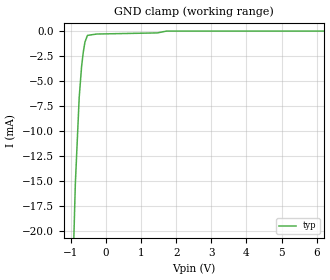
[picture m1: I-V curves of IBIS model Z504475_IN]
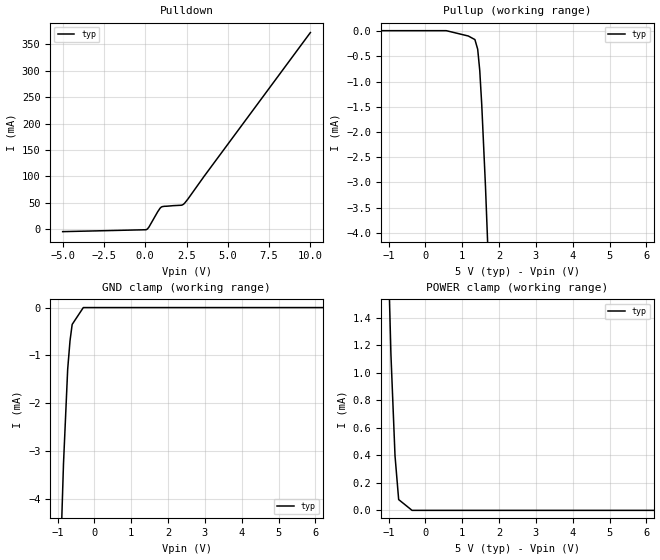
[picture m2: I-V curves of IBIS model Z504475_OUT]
| YOU ARE ONLY AUTHORIZED TO USE THIS SOFTWARE
| ACCORDING TO LICENSOR'S LICENSE RESTRICTIONS.
[IBIS Ver] 3.1
[File Name] sn54ls75j.ibs
[File Rev] 2.0
[Source] Measured and created by ICX Technology
[Date] Friday 7/14/00 9:08:15 AM
[Copyright]
| (C) COPYRIGHT 1993-2000
| MENTOR GRAPHICS CORPORATION
| ICX STANDARD LIBRARY, ICX PROJECT MODELING,
| ICX CUSTOM MODELING, ICX VENDOR MODEL
| ALL RIGHTS RESERVED.
| THE FOLLOWING ARE TRADEMARKS OR SERVICE MARKS OF
| MENTOR GRAPHICS CORPORATION:ICX (R), ICX STANDARD
| LIBRARY(R), ICX PROJECT MODELING(R), ICX CUSTOM
| MODELING(R), qualityIBIS(TM), MODELVIEWER(TM),
| AND MODELEDITOR(TM)
| ALL COPIES OF SOFTWARE, INCLUDING BUT NOT LIMITED TO
| ANY MODIFICATIONS, ENHANCEMENTS OR DERIVATIVE WORKS,
| MUST CONTAIN ALL MENTOR GRAPHICS CORPORATION'S
| NOTICES AND LEGENDS, INCLUDING THOSE EMBEDDED IN
| SOFTWARE AND THOSE AFFIXED TO SOFTWARE MEDIUM
| AND CONTAINER, AS RECEIVED FROM MENTOR GRAPHICS
| CORPORATION.
|  ZAP Model Builder 2.7
[Component] SN54LS75J
[Manufacturer] OnSemiconductor
[Package]
| variable   typ   min   max
R_pkg  .212ohms NA NA
L_pkg  4.758nH NA NA
C_pkg  1.944pF NA NA
[Pin] signal_name  model_name  R_pin  L_pin C_pin
1 _Q0 Z504475_OUT .224 7.258n 2.683p
2 D0 Z504475_IN .216 5.258n 2.19p
3 D1 Z504475_IN .208 3.758n 1.697p
4 CLK Z504475_IN .2 2.758n 1.204p
5 VCC POWER .2 2.758n 1.204p
6 D0 Z504475_IN .208 3.758n 1.697p
7 D1 Z504475_IN .216 5.258n 2.19p
8 _Q1 Z504475_OUT .224 7.258n 2.683p
9 Q1 Z504475_OUT .224 7.258n 2.683p
10 Q0 Z504475_OUT .216 5.258n 2.19p
11 _Q0 Z504475_OUT .208 3.758n 1.697p
12 GND GND .2 2.758n 1.204p
13 CLK Z504475_IN .2 2.758n 1.204p
14 _Q1 Z504475_OUT .208 3.758n 1.697p
15 Q1 Z504475_OUT .216 5.258n 2.19p
16 Q0 Z504475_OUT .224 7.258n 2.683p
| Models and submodels in the file (2): Z504475_IN (Input), Z504475_OUT (Output)
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| (C) COPYRIGHT 1993-2000
| MENTOR GRAPHICS CORPORATION
| ICX STANDARD LIBRARY, ICX PROJECT MODELING,
| ICX CUSTOM MODELING, ICX VENDOR MODEL
| ALL RIGHTS RESERVED.
| THE FOLLOWING ARE TRADEMARKS OR SERVICE MARKS OF
| MENTOR GRAPHICS CORPORATION:ICX (R), ICX STANDARD
| LIBRARY(R), ICX PROJECT MODELING(R), ICX CUSTOM
| MODELING(R), qualityIBIS(TM), MODELVIEWER(TM),
| AND MODELEDITOR(TM)
| ALL COPIES OF SOFTWARE, INCLUDING BUT NOT LIMITED TO
| ANY MODIFICATIONS, ENHANCEMENTS OR DERIVATIVE WORKS,
| MUST CONTAIN ALL MENTOR GRAPHICS CORPORATION'S
| NOTICES AND LEGENDS, INCLUDING THOSE EMBEDDED IN
| SOFTWARE AND THOSE AFFIXED TO SOFTWARE MEDIUM
| AND CONTAINER, AS RECEIVED FROM MENTOR GRAPHICS
| CORPORATION.
| Model Application Version 1.89 2/18/99.
[Model] Z504475_IN
Model_type Input
Vinl = 800.0mV
Vinh = 2.000V
C_comp 4.000pF NA NA
| variable typ   min   max
[Voltage Range] 5.000V NA NA
[GND Clamp Reference] 0.000V NA NA
[POWER Clamp Reference] 5.000V NA NA
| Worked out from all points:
|   GND clamp passes 1 mA (typ) near -0.59 V on its own axis
[GND Clamp]
-5V       -538.1mA   NA         NA
-872.3mV  -15.32mA   NA         NA
-761.6mV  -6.603mA   NA         NA
-693.4mV  -3.522mA   NA         NA
-644.6mV  -2.077mA   NA         NA
-598mV    -1.09mA    NA         NA
-527.3mV  -437.9uA   NA         NA
-263.7mV  -299.9uA   NA         NA
1.466V    -187uA     NA         NA
1.724V    -5.706uA   NA         NA
10V       -5.706uA   NA         NA
[POWER Clamp]
-5V       0A         NA         NA
10V       0A         NA         NA
| (C) COPYRIGHT 1993-2000
| MENTOR GRAPHICS CORPORATION
| ICX STANDARD LIBRARY, ICX PROJECT MODELING,
| ICX CUSTOM MODELING, ICX VENDOR MODEL
| ALL RIGHTS RESERVED.
| THE FOLLOWING ARE TRADEMARKS OR SERVICE MARKS OF
| MENTOR GRAPHICS CORPORATION:ICX (R), ICX STANDARD
| LIBRARY(R), ICX PROJECT MODELING(R), ICX CUSTOM
| MODELING(R), qualityIBIS(TM), MODELVIEWER(TM),
| AND MODELEDITOR(TM)
| ALL COPIES OF SOFTWARE, INCLUDING BUT NOT LIMITED TO
| ANY MODIFICATIONS, ENHANCEMENTS OR DERIVATIVE WORKS,
| MUST CONTAIN ALL MENTOR GRAPHICS CORPORATION'S
| NOTICES AND LEGENDS, INCLUDING THOSE EMBEDDED IN
| SOFTWARE AND THOSE AFFIXED TO SOFTWARE MEDIUM
| AND CONTAINER, AS RECEIVED FROM MENTOR GRAPHICS
| CORPORATION.
| Model Application Version 1.89 2/18/99.
[Model] Z504475_OUT
Model_type Output
Vref=5.000V
Rref=2.000kohms
Cref=15.00pF
Vmeas=1.300V
C_comp 8.000pF NA NA
| variable typ   min   max
[Voltage Range] 5.000V NA NA
[POWER Clamp Reference] 5.000V NA NA
[Pullup Reference] 5.000V NA NA
[Pulldown Reference] 0.000V NA NA
[GND Clamp Reference] 0.000V NA NA
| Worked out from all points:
|   slope of the pulldown table from 0 to 0.75 V, typ, clamps not added: 22.1 ohm
|   slope of the pullup table from 0 to 0.75 V, typ, clamps not added: 23 kohm
|   GND clamp passes 1 mA (typ) near -0.70 V on its own axis
|   POWER clamp passes 1 mA (typ) near -0.92 V on its own axis
[GND Clamp]
-5V       -144.9mA   NA         NA
-1.348V   -17.11mA   NA         NA
-1.074V   -9.001mA   NA         NA
-840.9mV  -3.259mA   NA         NA
-727.5mV  -1.289mA   NA         NA
-664.1mV  -693.4uA   NA         NA
-605.6mV  -352.1uA   NA         NA
-302.8mV  0A         NA         NA
10V       0A         NA         NA
[Pulldown]
-5V       -4.589mA   NA         NA
68.44mV   -738.9uA   NA         NA
224.6mV   4.091mA    NA         NA
752mV     32.99mA    NA         NA
981.5mV   42.19mA    NA         NA
2.177V    45.42mA    NA         NA
2.329V    47.65mA    NA         NA
2.583V    57.13mA    NA         NA
3.566V    100.3mA    NA         NA
10V       372.6mA    NA         NA
[Pullup]
-5V       10.79uA    NA         NA
566mV     10.79uA    NA         NA
1.163V    -94.83uA   NA         NA
1.343V    -165.4uA   NA         NA
1.419V    -356.9uA   NA         NA
1.475V    -777.7uA   NA         NA
1.529V    -1.456mA   NA         NA
1.631V    -3.086mA   NA         NA
10V       -162mA     NA         NA
[POWER Clamp]
-5V       42.13mA    NA         NA
-937mV    1.135mA    NA         NA
-826mV    397.1uA    NA         NA
-727mV    78.46uA    NA         NA
-363.5mV  0A         NA         NA
10V       0A         NA         NA
[Ramp]
| variable typ min max
dV/dt_r 1.859/13.74n NA NA
dV/dt_f 1.859/2.896n NA NA
R_load = 500.0Ohms
